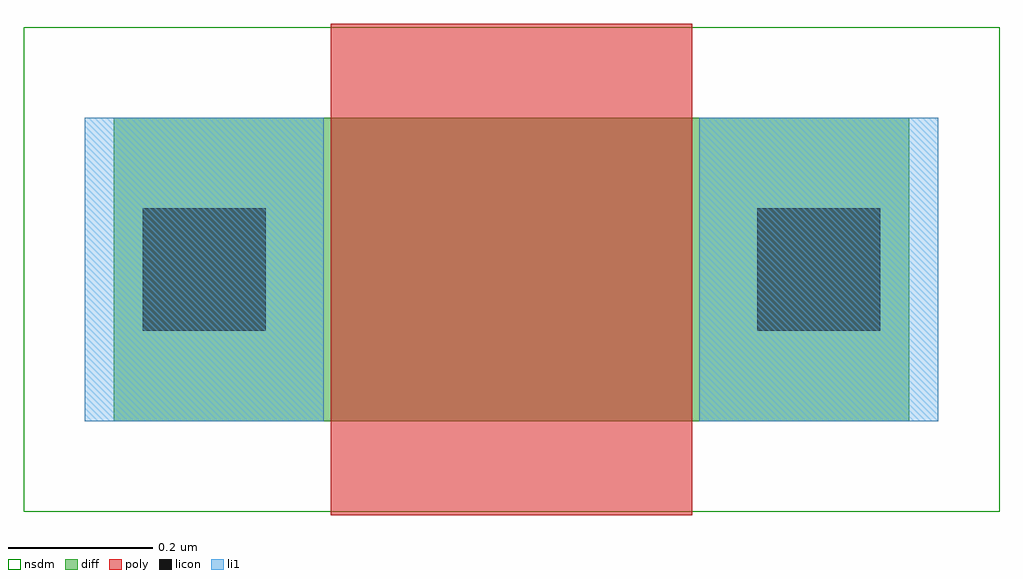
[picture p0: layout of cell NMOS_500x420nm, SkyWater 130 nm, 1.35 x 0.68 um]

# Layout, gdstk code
import gdstk
lib = gdstk.Library(unit=1e-6, precision=1e-09)
def R(c, l, rs):  # rectangles x0, y0, x1, y1
    for r in rs: c.add(gdstk.rectangle(r[:2], r[2:], *l))
diff = (65, 20)
poly = (66, 20)
licon = (66, 44)
li1 = (67, 20)
nsdm = (93, 44)

nmos_500x420nm = lib.new_cell('NMOS_500x420nm')
R(nmos_500x420nm, diff, [(-0.83,-0.08,0.27,0.34)])
R(nmos_500x420nm, poly, [(-0.53,-0.21,-0.03,0.47)])
R(nmos_500x420nm, licon, [(-0.79,0.045,-0.62,0.215), (0.06,0.045,0.23,0.215)])
R(nmos_500x420nm, li1, [(-0.87,-0.08,-0.54,0.34), (-0.02,-0.08,0.31,0.34)])
R(nmos_500x420nm, nsdm, [(-0.955,-0.205,0.395,0.465)])

lib.write_gds('NMOS_500x420nm.gds')
